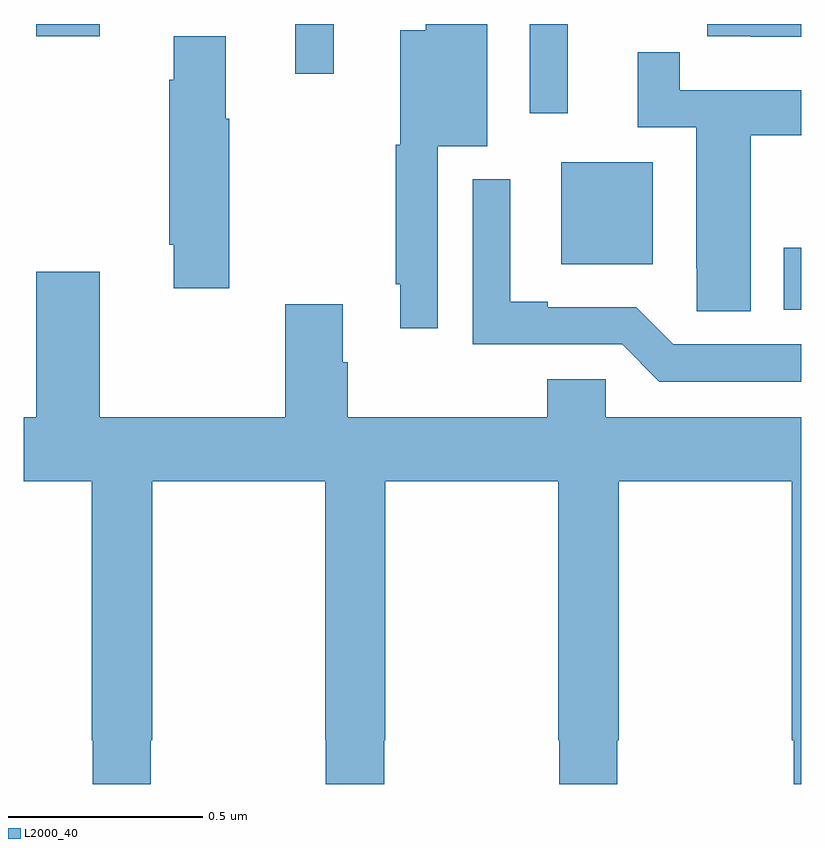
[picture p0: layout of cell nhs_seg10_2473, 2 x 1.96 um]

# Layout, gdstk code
import gdstk
lib = gdstk.Library(unit=1e-6, precision=1e-09)
def R(c, l, rs):  # rectangles x0, y0, x1, y1
    for r in rs: c.add(gdstk.rectangle(r[:2], r[2:], *l))
def P(c, l, *ps):  # polygons
    for p in ps: c.add(gdstk.Polygon(p, *l))
L2000_40 = (2000, 40)

nhs_seg10_2473 = lib.new_cell('nhs_seg10_2473')
R(nhs_seg10_2473, L2000_40, [(142.955,1292.765,143,1292.925), (142.382,1292.882,142.618,1293.145), (142.302,1293.27,142.4,1293.5), (141.698,1293.372,141.798,1293.5), (141.032,1293.468,141.196,1293.5)])
P(nhs_seg10_2473, L2000_40, [(143,1293.5),(142.758,1293.5),(142.758,1293.468),(142.87,1293.468),(142.87,1293.467),(143,1293.467)],
  [(142.065,1293.185),(142.192,1293.185),(142.192,1293.5),(142.034,1293.5),(142.034,1293.484),(141.968,1293.484),(141.968,1293.189),(141.957,1293.189),(141.957,1292.83),(141.968,1292.83),(141.968,1292.718),(142.065,1292.718)],
  [(141.528,1293.256),(141.52,1293.256),(141.52,1293.469),(141.386,1293.469),(141.386,1293.356),(141.374,1293.356),(141.374,1292.932),(141.386,1292.932),(141.386,1292.82),(141.528,1292.82)],
  [(142.87,1293.214),(143,1293.214),(143,1293.33),(142.688,1293.33),(142.688,1293.427),(142.58,1293.427),(142.58,1293.234),(142.73,1293.234),(142.73,1292.872),(142.731,1292.872),(142.731,1292.761),(142.87,1292.761)],
  [(143,1292.676),(142.671,1292.676),(142.575,1292.772),(142.348,1292.772),(142.348,1292.785),(142.252,1292.785),(142.252,1293.1),(142.155,1293.1),(142.155,1292.676),(142.539,1292.676),(142.635,1292.58),(143,1292.58)],
  [(141.327,1291.657),(141.33,1291.657),(141.33,1292.324),(141.775,1292.324),(141.775,1291.657),(141.777,1291.657),(141.777,1291.545),(141.927,1291.545),(141.927,1291.657),(141.93,1291.657),(141.93,1292.324),(142.375,1292.324),(142.375,1291.657),(142.377,1291.657),(142.377,1291.545),(142.527,1291.545),(142.527,1291.657),(142.53,1291.657),(142.53,1292.324),(142.975,1292.324),(142.975,1291.657),(142.981,1291.657),(142.981,1291.545),(143,1291.545),(143,1292.488),(142.497,1292.488),(142.497,1292.586),(142.346,1292.586),(142.346,1292.488),(141.833,1292.488),(141.833,1292.63),(141.82,1292.63),(141.82,1292.779),(141.673,1292.779),(141.673,1292.488),(141.196,1292.488),(141.196,1292.863),(141.032,1292.863),(141.032,1292.488),(141,1292.488),(141,1292.324),(141.175,1292.324),(141.175,1291.657),(141.177,1291.657),(141.177,1291.545),(141.327,1291.545)])

lib.write_gds('nhs_seg10_2473.gds')
